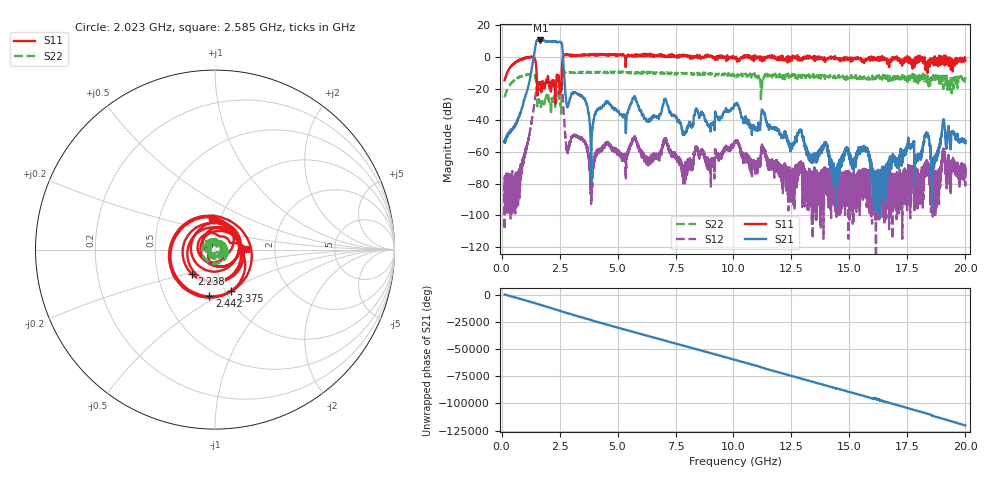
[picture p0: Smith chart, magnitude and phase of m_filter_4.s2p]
!Created with skrf (http://scikit-rf.org).
# GHz S RI R 50.0
!freq ReS11 ImS11 ReS21 ImS21 ReS12 ImS12 ReS22 ImS22
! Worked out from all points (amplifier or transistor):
!   20013 points, 130 MHz to 20 GHz, reference 50 ohm
!   highest |S21| = 10.4 dB at 1.675 GHz (marker M1)
!   |S21| within 3 dB of that: 1.464 GHz to 2.612 GHz (1.148 GHz wide, 56.3 % of centre)
!   unconditionally stable (mu >= 1): start of sweep to 1.094 GHz; 1.41 GHz to 2.636 GHz; 14.39 GHz to 15.85 GHz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
!   at 3.465 GHz: K = -586.09, MSG = 13.4 dB, |S12| = -51.3 dB
!   at 10.14 GHz: K = 2300.62, MAG = -24.7 dB, |S12| = -53.2 dB
!   at 20 GHz: K = 299813.70, MAG = -49.1 dB, |S12| = -70.8 dB
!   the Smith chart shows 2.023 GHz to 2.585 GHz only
!   S11 on the Smith chart (normalised r, x): 2.023 GHz: 0.92, +0.33; 2.238 GHz: 0.75, -0.21; 2.375 GHz: 1.06, -0.52; 2.442 GHz: 0.82, -0.46; 2.585 GHz: 1.42, +0.02
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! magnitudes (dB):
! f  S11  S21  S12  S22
! 130 MHz  -14.7  -53.9  -78.5  -25.4
! 723 MHz  -2.3  -38.7  -79.7  -13.1
! 1.37 GHz  -0.1  -1.4  -33.6  -10.7
! 1.675 GHz  -16.7  10.4  -20.1  -29.1
! 2.023 GHz  -15.3  9.7  -19.3  -25.5
! 2.238 GHz  -14.6  9.8  -18.7  -26.0
! 2.375 GHz  -12.1  9.5  -18.7  -23.0
! 2.442 GHz  -11.6  9.3  -18.8  -22.5
! 2.585 GHz  -15.1  9.1  -18.9  -25.2
! 2.833 GHz  1.3  -31.6  -59.7  -9.6
! 3.442 GHz  1.3  -24.4  -51.4  -9.4
! 3.878 GHz  1.6  -54.2  -81.8  -9.9
! 4.531 GHz  1.5  -28.8  -54.8  -9.5
! 6.754 GHz  1.4  -38.0  -63.5  -9.8
! 7.897 GHz  1.0  -47.9  -78.7  -10.3
! 10.06 GHz  -0.4  -30.0  -54.1  -11.0
! 13.38 GHz  -0.3  -64.2  -85.0  -12.3
! 16.69 GHz  -3.7  -68.3  -96.2  -15.0
! 18.33 GHz  -3.6  -48.3  -67.2  -16.0
! 18.62 GHz  -3.6  -68.0  -78.4  -11.4
! 19.04 GHz  -0.6  -40.0  -59.5  -20.3
! 20 GHz  -2.1  -53.5  -70.8  -12.9
